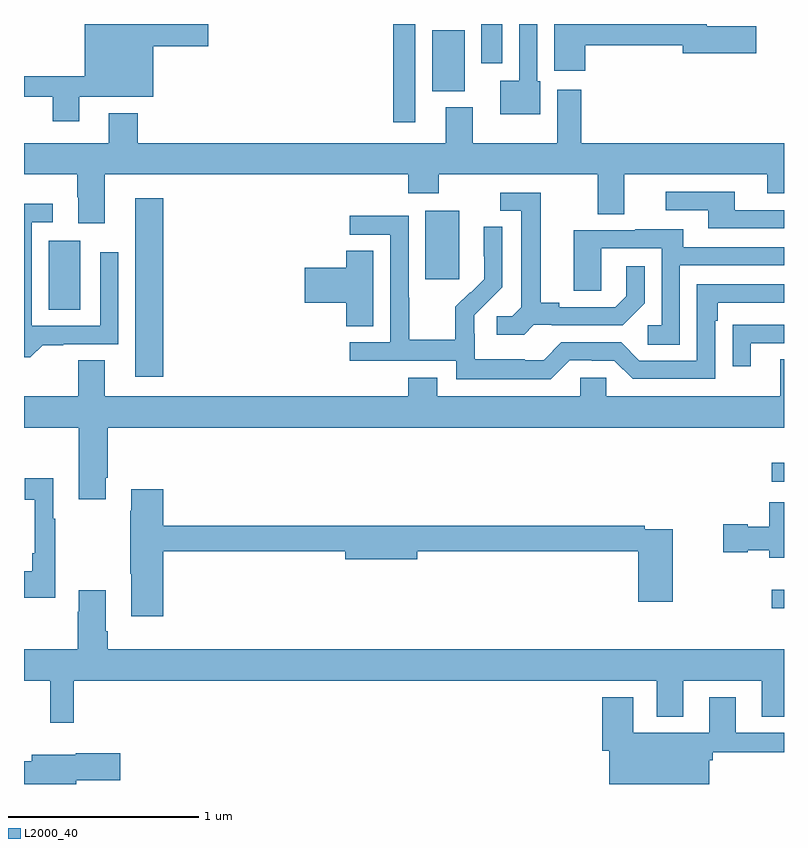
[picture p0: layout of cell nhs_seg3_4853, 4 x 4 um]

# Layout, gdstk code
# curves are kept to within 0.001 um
import gdstk
lib = gdstk.Library(unit=1e-6, precision=1e-09)
def R(c, l, rs):  # rectangles x0, y0, x1, y1
    for r in rs: c.add(gdstk.rectangle(r[:2], r[2:], *l))
def P(c, l, *ps):  # polygons
    for p in ps: c.add(gdstk.Polygon(p, *l))
L2000_40 = (2000, 40)

nhs_seg3_4853 = lib.new_cell('nhs_seg3_4853')
R(nhs_seg3_4853, L2000_40, [(376.935,673.326,377,673.423), (376.935,673.992,377,674.09), (373.586,674.544,373.733,675.484), (373.13,674.896,373.297,675.259), (375.113,675.057,375.292,675.418), (374.944,675.882,375.06,676.4), (375.149,676.046,375.319,676.366), (375.407,676.194,375.517,676.4)])
P(nhs_seg3_4853, L2000_40, [(375.953,676.288),(376.466,676.288),(376.466,676.246),(376.855,676.246),(376.855,676.388),(376.594,676.388),(376.594,676.4),(375.791,676.4),(375.791,676.155),(375.953,676.155)],
  [(375.718,676.098),(375.702,676.098),(375.702,676.4),(375.606,676.4),(375.606,676.102),(375.506,676.102),(375.506,675.926),(375.718,675.926)],
  [(373.291,676.016),(373.681,676.016),(373.681,676.283),(373.969,676.283),(373.969,676.4),(373.319,676.4),(373.319,676.126),(373,676.126),(373,676.017),(373.151,676.017),(373.151,675.888),(373.291,675.888)],
  [(373.598,675.931),(373.445,675.931),(373.445,675.772),(373,675.772),(373,675.608),(373.279,675.608),(373.279,675.488),(373.286,675.488),(373.286,675.351),(373.426,675.351),(373.426,675.608),(375.023,675.608),(375.023,675.509),(375.183,675.509),(375.183,675.608),(376.019,675.608),(376.019,675.4),(376.159,675.4),(376.159,675.608),(376.913,675.608),(376.913,675.509),(377,675.509),(377,675.772),(375.932,675.772),(375.932,676.054),(375.806,676.054),(375.806,675.772),(375.361,675.772),(375.361,675.961),(375.221,675.961),(375.221,675.772),(373.598,675.772)],
  [(377,675.42),(376.741,675.42),(376.741,675.516),(376.377,675.516),(376.377,675.42),(376.601,675.42),(376.601,675.324),(377,675.324)],
  [(375.684,674.817),(375.778,674.817),(375.778,674.814),(376.15,674.814),(376.266,674.93),(376.266,675.124),(376.169,675.124),(376.169,674.967),(376.112,674.91),(375.817,674.91),(375.817,674.933),(375.721,674.933),(375.721,675.513),(375.507,675.513),(375.507,675.417),(375.617,675.417),(375.617,674.909),(375.57,674.862),(375.489,674.862),(375.489,674.765),(375.632,674.765)],
  [(373.099,674.71),(373.207,674.71),(373.207,674.715),(373.497,674.715),(373.497,675.199),(373.401,675.199),(373.401,674.811),(373.041,674.811),(373.041,675.357),(373.15,675.357),(373.15,675.454),(373,675.454),(373,674.645),(373.034,674.645)],
  [(375.873,674.631),(375.989,674.631),(375.989,674.628),(376.107,674.628),(376.203,674.532),(376.638,674.532),(376.638,674.837),(376.651,674.837),(376.651,674.934),(377,674.934),(377,675.03),(376.542,675.03),(376.542,674.628),(376.239,674.628),(376.143,674.724),(375.828,674.724),(375.735,674.631),(375.635,674.631),(375.635,674.635),(375.372,674.635),(375.372,674.769),(375.37,674.769),(375.37,674.866),(375.516,675.014),(375.516,675.332),(375.42,675.332),(375.42,675.178),(375.422,675.178),(375.422,675.056),(375.351,674.985),(375.348,674.988),(375.271,674.911),(375.271,674.737),(375.027,674.737),(375.027,674.96),(375.024,674.96),(375.024,675.39),(374.715,675.39),(374.715,675.291),(374.928,675.291),(374.928,674.724),(374.715,674.724),(374.715,674.628),(375.276,674.628),(375.276,674.531),(375.773,674.531)],
  [(376.452,675.129),(377,675.129),(377,675.225),(376.471,675.225),(376.471,675.319),(376.217,675.319),(376.217,675.315),(375.893,675.315),(375.893,674.995),(376.038,674.995),(376.038,675.219),(376.356,675.219),(376.356,674.814),(376.284,674.814),(376.284,674.713),(376.452,674.713)],
  [(374.839,675.206),(374.696,675.206),(374.696,675.116),(374.478,675.116),(374.478,674.933),(374.696,674.933),(374.696,674.809),(374.839,674.809)],
  [(376.825,674.721),(377,674.721),(377,674.817),(376.831,674.817),(376.831,674.816),(376.729,674.816),(376.729,674.598),(376.825,674.598)],
  [(373.286,674.44),(373,674.44),(373,674.276),(373.289,674.276),(373.289,673.899),(373.429,673.899),(373.429,674.011),(373.442,674.011),(373.442,674.276),(377,674.276),(377,674.635),(376.979,674.635),(376.979,674.44),(376.065,674.44),(376.065,674.538),(375.927,674.538),(375.927,674.44),(375.175,674.44),(375.175,674.539),(375.023,674.539),(375.023,674.44),(373.426,674.44),(373.426,674.63),(373.286,674.63)],
  [(373.165,673.795),(373.153,673.795),(373.153,674.008),(373.005,674.008),(373.005,673.895),(373.056,673.895),(373.056,673.615),(373.044,673.615),(373.044,673.519),(373,673.519),(373,673.379),(373.165,673.379)],
  [(373.733,673.624),(374.69,673.624),(374.69,673.582),(375.07,673.582),(375.07,673.624),(376.232,673.624),(376.232,673.359),(376.415,673.359),(376.415,673.74),(376.268,673.74),(376.268,673.76),(373.733,673.76),(373.733,673.951),(373.565,673.951),(373.565,673.838),(373.558,673.838),(373.558,673.507),(373.565,673.507),(373.565,673.284),(373.733,673.284)],
  [(377,673.882),(376.922,673.882),(376.922,673.753),(376.809,673.753),(376.809,673.766),(376.68,673.766),(376.68,673.619),(376.809,673.619),(376.809,673.631),(376.922,673.631),(376.922,673.592),(377,673.592)],
  [(373.442,673.204),(373.429,673.204),(373.429,673.42),(373.289,673.42),(373.289,673.307),(373.282,673.307),(373.282,673.108),(373,673.108),(373,672.944),(373.139,672.944),(373.139,672.723),(373.261,672.723),(373.261,672.944),(376.331,672.944),(376.331,672.755),(376.471,672.755),(376.471,672.944),(376.883,672.944),(376.883,672.754),(377,672.754),(377,673.108),(373.442,673.108)],
  [(376.606,672.525),(376.624,672.525),(376.624,672.568),(377,672.568),(377,672.669),(376.747,672.669),(376.747,672.856),(376.607,672.856),(376.607,672.67),(376.207,672.67),(376.207,672.856),(376.043,672.856),(376.043,672.576),(376.079,672.576),(376.079,672.4),(376.606,672.4)],
  [(373.276,672.419),(373.507,672.419),(373.507,672.561),(373.272,672.561),(373.272,672.553),(373.04,672.553),(373.04,672.521),(373,672.521),(373,672.4),(373.276,672.4)])

lib.write_gds('nhs_seg3_4853.gds')
